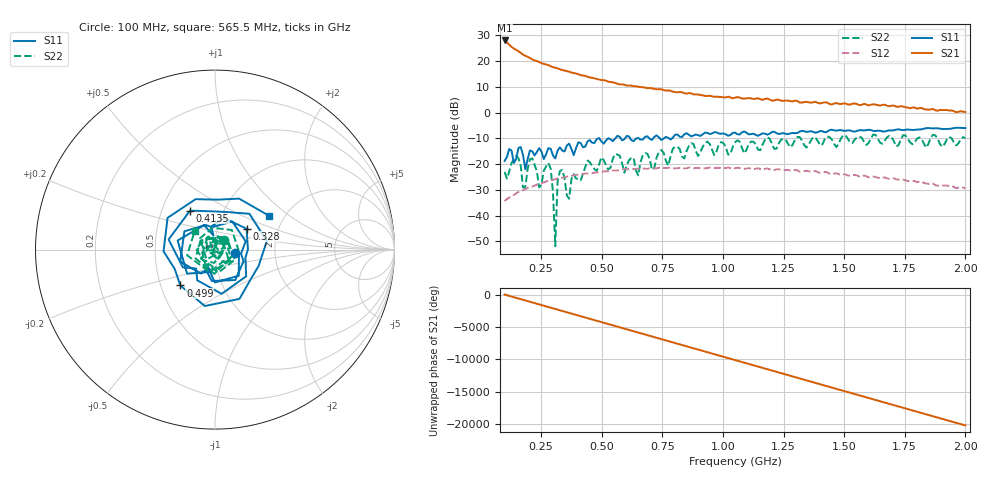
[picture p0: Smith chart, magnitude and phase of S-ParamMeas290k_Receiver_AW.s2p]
!Keysight Technologies,N5242B,MY48420967,A.15.65.19
!Date: Saturday, February 04, 2023 18:06:24
!Correction: S11(C  1-Port  )
!S21(Off)
!S12(Off)
!S22(Off)
!S2P File: Measurements: S11, S21, S12, S22:
# Hz S  dB  R 50
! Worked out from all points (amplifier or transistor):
!   201 points, 100 MHz to 2 GHz, reference 50 ohm
!   highest |S21| = 28.0 dB at 100 MHz (marker M1)
!   |S21| within 3 dB of that: start of sweep to 135.9 MHz
!   unconditionally stable (mu >= 1): start of sweep to end of sweep
!   at 413.5 MHz: K = 1.56, MAG = 14.9 dB, |S12| = -24.1 dB
!   at 1.05 GHz: K = 2.57, MAG = 6.8 dB, |S12| = -21.6 dB
!   at 2 GHz: K = 9.57, MAG = 2.0 dB, |S12| = -29.3 dB
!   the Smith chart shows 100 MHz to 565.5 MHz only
!   S11 on the Smith chart (normalised r, x): 100 MHz: 1.25, -0.05; 328 MHz: 1.38, +0.34; 413.5 MHz: 0.69, +0.32; 499 MHz: 0.63, -0.27; 565.5 MHz: 1.66, +0.72
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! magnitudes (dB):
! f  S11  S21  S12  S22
! 100 MHz  -18.8  28.0  -34.4  -23.1
! 147.5 MHz  -18.0  24.4  -31.3  -16.8
! 185.5 MHz  -22.0  22.1  -29.7  -28.9
! 214 MHz  -15.0  20.7  -28.7  -17.8
! 242.5 MHz  -13.8  19.6  -27.6  -29.0
! 280.5 MHz  -13.8  18.4  -26.4  -19.6
! 299.5 MHz  -16.7  17.7  -26.1  -31.0
! 309 MHz  -17.8  17.4  -25.9  -51.9
! 318.5 MHz  -14.8  17.2  -25.6  -26.7
! 328 MHz  -13.5  16.8  -25.5  -22.7
! 366 MHz  -12.1  15.9  -24.7  -33.4
! 385 MHz  -16.5  15.4  -24.4  -23.9
! 413.5 MHz  -11.8  14.5  -24.1  -26.3
! 423 MHz  -13.5  14.4  -23.9  -23.7
! 499 MHz  -11.1  12.6  -23.1  -17.4
! 565.5 MHz  -9.0  11.2  -22.5  -16.3
! 651 MHz  -9.8  10.1  -21.8  -24.4
! 736.5 MHz  -9.6  9.1  -21.4  -15.3
! 1.05 GHz  -7.8  5.8  -21.6  -11.6
! 1.373 GHz  -7.5  4.0  -22.8  -9.6
! 1.687 GHz  -6.9  2.5  -25.7  -9.0
! 2 GHz  -6.0  0.2  -29.3  -10.0
